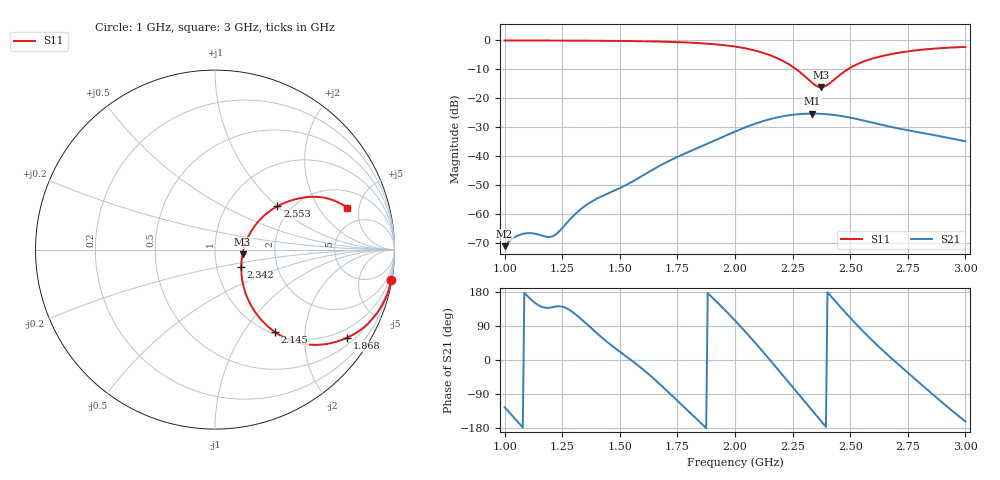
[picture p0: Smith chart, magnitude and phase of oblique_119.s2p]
! TOUCHSTONE file generated by CST MICROWAVE STUDIO
! Date and time: Tue Mar 18 00:02:07 2025
! Project name: oblique.cst
! Parameters = {Tilt=40; Fracture=1; B=10; D=160; F=5; Feed=2.85625; L=100; M=10; R=0.384908; S=2; Theta=180; length=57.125; wave=114.25}
! Header version: 2024
! Port assignment regex: !\s*Touchstone port\s*([0-9]+)\s*=\s*(CST MWS port|CST DES external port|CST DES block port)\s*(.+)\s* \(\"(.*)\"\)(\s*mode\s*([0-9]+))?.*
! Touchstone port assignment:
! Touchstone port 1 = CST MWS port 1 ("")
! Touchstone port 2 = CST MWS port 2 ("")
# GHz S DB R 50
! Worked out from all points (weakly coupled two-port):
!   305 points, 1 GHz to 3 GHz, reference 50 ohm
!   highest |S21| = -25.26 dB at 2.336 GHz (marker M1); lowest = -71.0 dB at 1 GHz (marker M2)
!   lowest |S11| = -16.2 dB at 2.375 GHz (marker M3), VSWR 1.37, Z = 68 - j3.57 ohm
!   |S11| at or under -10 dB: 2.267 GHz to 2.489 GHz (222.6 MHz wide, 9.36 % of centre)
!   S12 and S22 are empty: the file has one direction only
!   S11 on the Smith chart (normalised r, x): 1 GHz: 0, -12; 1.868 GHz: 0.70, -3.15; 2.145 GHz: 1.04, -1.41; 2.342 GHz: 1.31, -0.27; 2.553 GHz: 1.70, +1.00; 3 GHz: 3.25, +3.77
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1  -0.02 -9.8  -71.01 -124.6  -200.00 0.0  -200.00 0.0
1.03947  -0.02 -10.3  -68.14 -151.3  -200.00 0.0  -200.00 0.0
1.08553  -0.03 -11.0  -66.64 177.4  -200.00 0.0  -200.00 0.0
1.18421  -0.04 -12.5  -67.79 137.6  -200.00 0.0  -200.00 0.0
1.21053  -0.05 -12.9  -67.51 139.8  -200.00 0.0  -200.00 0.0
1.33553  -0.09 -15.3  -57.91 106.4  -200.00 0.0  -200.00 0.0
1.39474  -0.12 -16.5  -54.85 73.9  -200.00 0.0  -200.00 0.0
1.52632  -0.21 -19.8  -49.93 10.1  -200.00 0.0  -200.00 0.0
1.67105  -0.41 -24.5  -43.35 -62.3  -200.00 0.0  -200.00 0.0
1.86842  -1.07 -33.8  -36.09 -175.9  -200.00 0.0  -200.00 0.0
2  -2.13 -42.7  -31.48 104.2  -200.00 0.0  -200.00 0.0
2.14474  -4.91 -53.9  -27.34 5.0  -200.00 0.0  -200.00 0.0
2.24342  -8.72 -57.1  -25.74 -66.7  -200.00 0.0  -200.00 0.0
2.33553  -14.67 -37.6  -25.26 -134.0  -200.00 0.0  -200.00 0.0
2.34211  -15.09 -33.9  -25.26 -138.8  -200.00 0.0  -200.00 0.0
2.375  -16.17 -9.5  -25.34 -162.5  -200.00 0.0  -200.00 0.0
2.40132  -15.36 10.0  -25.49 178.8  -200.00 0.0  -200.00 0.0
2.46711  -11.18 32.3  -26.17 133.3  -200.00 0.0  -200.00 0.0
2.55263  -7.47 34.8  -27.55 77.8  -200.00 0.0  -200.00 0.0
2.67105  -4.84 30.4  -29.76 8.9  -200.00 0.0  -200.00 0.0
2.82895  -3.08 23.6  -32.16 -75.3  -200.00 0.0  -200.00 0.0
3  -2.24 17.6  -34.80 -162.3  -200.00 0.0  -200.00 0.0
